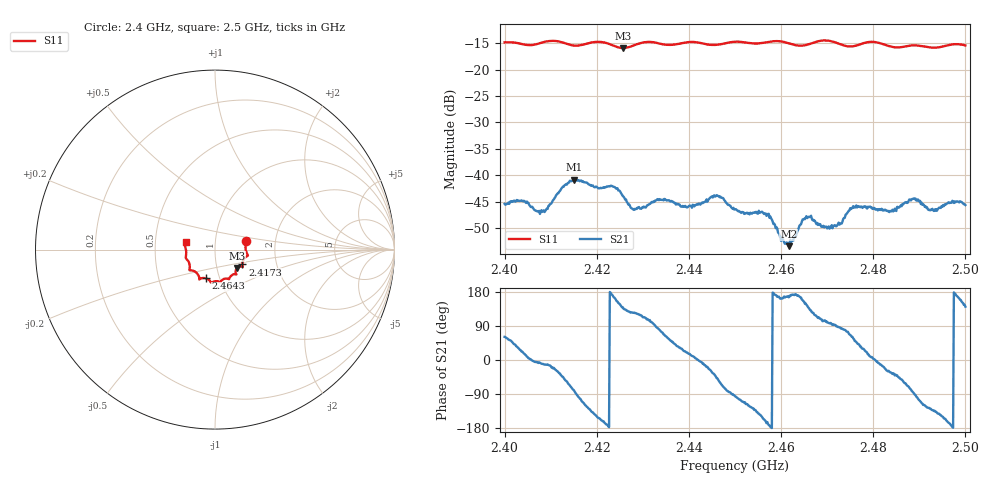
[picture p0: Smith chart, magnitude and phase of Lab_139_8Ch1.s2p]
# Hz S RI R 50
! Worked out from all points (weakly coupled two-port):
!   601 points, 2.4 GHz to 2.5 GHz, reference 50 ohm
!   highest |S21| = -40.87 dB at 2.415 GHz (marker M1); lowest = -53.4 dB at 2.4617 GHz (marker M2)
!   lowest |S11| = -15.9 dB at 2.4257 GHz (marker M3), VSWR 1.38, Z = 62.4 - j13.1 ohm
!   |S11| at or under -10 dB: start of sweep to end of sweep
!   S12 and S22 are empty: the file has one direction only
!   S11 on the Smith chart (normalised r, x): 2.4 GHz: 1.41, +0.14; 2.4173 GHz: 1.34, -0.23; 2.4643 GHz: 0.86, -0.28; 2.5 GHz: 0.72, +0.06
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2.4e9  0.1736 0.0493  0.0026 0.00469  0 0  0 0
2.403833e9  0.1718 0.0268  0.0053 0.00217  0 0  0 0
2.408167e9  0.1786 -0.0226  0.00443 -0.000797  0 0  0 0
2.415e9  0.1591 -0.0555  0.00167 -0.0089  0 0  0 0
2.416667e9  0.153 -0.075  -0.00264 -0.0085  0 0  0 0
2.417333e9  0.1523 -0.0826  -0.00381 -0.00771  0 0  0 0
2.425667e9  0.1223 -0.1024  -0.00479 0.00419  0 0  0 0
2.428167e9  0.1148 -0.1253  -0.00276 0.00394  0 0  0 0
2.433333e9  0.1126 -0.1365  0.000735 0.00584  0 0  0 0
2.439333e9  0.0805 -0.1612  0.00472 0.00182  0 0  0 0
2.446e9  0.0469 -0.1647  0.00437 -0.00478  0 0  0 0
2.45e9  0.0295 -0.1808  -0.000441 -0.00474  0 0  0 0
2.456833e9  -0.0124 -0.1803  -0.00402 -0.000956  0 0  0 0
2.461667e9  -0.0281 -0.1745  -0.00207 0.000538  0 0  0 0
2.464333e9  -0.05 -0.1604  -0.00331 0.000898  0 0  0 0
2.466667e9  -0.0762 -0.1597  -0.00229 0.00314  0 0  0 0
2.470333e9  -0.0871 -0.1656  -0.00044 0.00326  0 0  0 0
2.475833e9  -0.1149 -0.1206  0.00286 0.00404  0 0  0 0
2.483333e9  -0.1408 -0.0897  0.00399 -0.00215  0 0  0 0
2.488667e9  -0.1622 -0.0477  0.000441 -0.00597  0 0  0 0
2.492667e9  -0.1604 -0.0176  -0.00311 -0.00351  0 0  0 0
2.5e9  -0.1637 0.0415  -0.00405 0.0033  0 0  0 0
